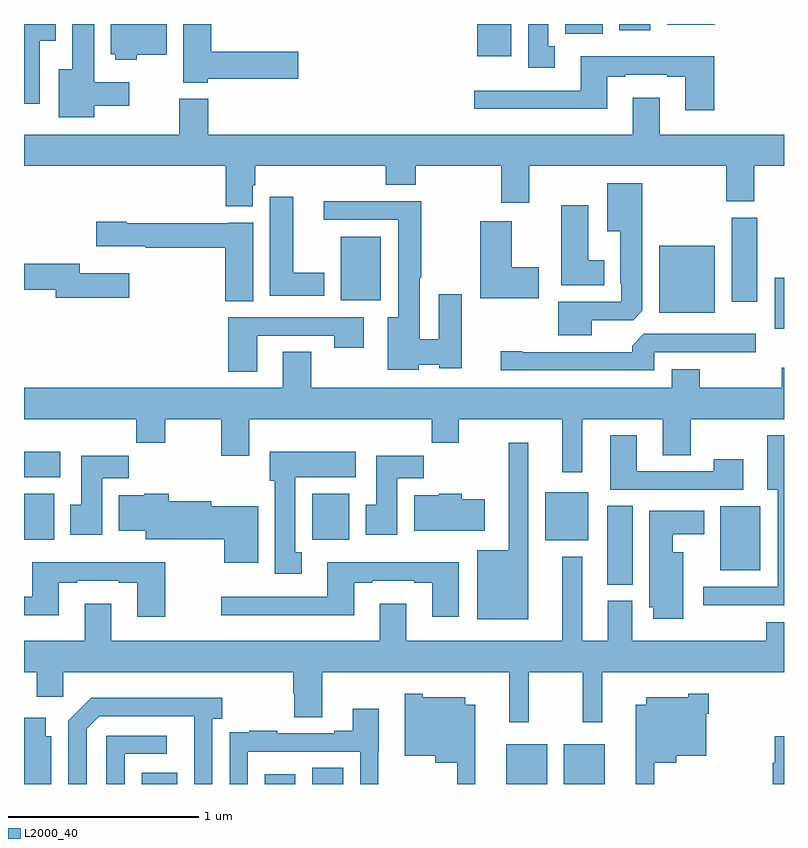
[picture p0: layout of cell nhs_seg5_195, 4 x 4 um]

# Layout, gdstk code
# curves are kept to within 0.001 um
import gdstk
lib = gdstk.Library(unit=1e-6, precision=1e-09)
def R(c, l, rs):  # rectangles x0, y0, x1, y1
    for r in rs: c.add(gdstk.rectangle(r[:2], r[2:], *l))
def P(c, l, *ps):  # polygons
    for p in ps: c.add(gdstk.Polygon(p, *l))
L2000_40 = (2000, 40)

nhs_seg5_195 = lib.new_cell('nhs_seg5_195')
R(nhs_seg5_195, L2000_40, [(121.619,894.799,121.807,894.859), (122.267,894.799,122.428,894.85), (122.516,894.799,122.68,894.884), (123.539,894.799,123.754,895.009), (123.842,894.799,124.057,895.009), (124.07,895.849,124.204,896.264), (124.664,895.925,124.876,896.26), (123.743,896.081,123.97,896.335), (121,896.084,121.159,896.326), (122.516,896.084,122.713,896.326), (121,896.414,121.192,896.548), (124.952,897.194,125,897.463), (124.343,897.278,124.636,897.631), (124.724,897.336,124.858,897.78), (122.666,897.344,122.878,897.679), (123.386,898.628,123.565,898.799), (123.848,898.748,124.045,898.799), (124.133,898.766,124.297,898.799), (124.385,898.796,124.636,898.799)])
P(nhs_seg5_195, L2000_40, [(121.593,898.637),(121.75,898.637),(121.75,898.799),(121.457,898.799),(121.457,898.641),(121.479,898.641),(121.479,898.61),(121.593,898.61)],
  [(121.084,898.712),(121.168,898.712),(121.168,898.799),(121,898.799),(121,898.38),(121.084,898.38)],
  [(121.968,898.51),(122.443,898.51),(122.443,898.652),(121.985,898.652),(121.985,898.799),(121.838,898.799),(121.838,898.49),(121.968,898.49)],
  [(121.369,898.37),(121.555,898.37),(121.555,898.492),(121.369,898.492),(121.369,898.799),(121.253,898.799),(121.253,898.561),(121.184,898.561),(121.184,898.307),(121.369,898.307)],
  [(123.793,898.682),(123.76,898.682),(123.76,898.799),(123.653,898.799),(123.653,898.569),(123.793,898.569)],
  [(124.634,898.63),(123.929,898.63),(123.929,898.449),(123.369,898.449),(123.369,898.352),(124.069,898.352),(124.069,898.521),(124.165,898.521),(124.165,898.533),(124.385,898.533),(124.385,898.521),(124.481,898.521),(124.481,898.344),(124.634,898.344)],
  [(122.203,897.951),(122.216,897.951),(122.216,898.052),(122.903,898.052),(122.903,897.953),(123.063,897.953),(123.063,898.052),(123.511,898.052),(123.511,897.858),(123.658,897.858),(123.658,898.052),(124.696,898.052),(124.696,897.865),(124.843,897.865),(124.843,898.052),(125,898.052),(125,898.216),(124.345,898.216),(124.345,898.411),(124.205,898.411),(124.205,898.216),(121.97,898.216),(121.97,898.405),(121.817,898.405),(121.817,898.216),(121,898.216),(121,898.052),(122.063,898.052),(122.063,897.839),(122.203,897.839)],
  [(123.988,897.24),(124.206,897.24),(124.255,897.289),(124.255,897.961),(124.07,897.961),(124.07,897.707),(124.139,897.707),(124.139,897.433),(124.143,897.433),(124.143,897.336),(123.812,897.336),(123.812,897.161),(123.988,897.161)],
  [(122.581,897.49),(122.416,897.49),(122.416,897.889),(122.294,897.889),(122.294,897.368),(122.581,897.368)],
  [(123.078,897.005),(123.186,897.005),(123.186,896.987),(123.304,896.987),(123.304,897.376),(123.182,897.376),(123.182,897.14),(123.082,897.14),(123.082,897.463),(123.09,897.463),(123.09,897.866),(122.577,897.866),(122.577,897.768),(122.969,897.768),(122.969,897.256),(122.915,897.256),(122.915,896.978),(123.078,896.978)],
  [(124.054,897.556),(123.97,897.556),(123.97,897.844),(123.827,897.844),(123.827,897.425),(124.054,897.425)],
  [(123.709,897.519),(123.568,897.519),(123.568,897.76),(123.401,897.76),(123.401,897.356),(123.709,897.356)],
  [(122.206,897.754),(122.076,897.754),(122.076,897.751),(121.542,897.751),(121.542,897.759),(121.38,897.759),(121.38,897.629),(121.642,897.629),(121.642,897.622),(122.06,897.622),(122.06,897.34),(122.206,897.34)],
  [(121.555,897.487),(121.294,897.487),(121.294,897.536),(121,897.536),(121,897.4),(121.166,897.4),(121.166,897.358),(121.555,897.358)],
  [(122.227,897.159),(122.632,897.159),(122.632,897.096),(122.788,897.096),(122.788,897.255),(122.075,897.255),(122.075,896.97),(122.227,896.97)],
  [(124.317,897.072),(124.852,897.072),(124.852,897.168),(124.263,897.168),(124.202,897.106),(124.202,897.072),(123.622,897.072),(123.622,897.077),(123.51,897.077),(123.51,896.976),(124.317,896.976)],
  [(123.937,896.72),(124.361,896.72),(124.361,896.53),(124.509,896.53),(124.509,896.72),(125,896.72),(125,896.991),(124.989,896.991),(124.989,896.884),(124.557,896.884),(124.557,896.983),(124.409,896.983),(124.409,896.884),(122.511,896.884),(122.511,897.074),(122.363,897.074),(122.363,896.884),(121,896.884),(121,896.72),(121.591,896.72),(121.591,896.596),(121.743,896.596),(121.743,896.72),(122.038,896.72),(122.038,896.526),(122.185,896.526),(122.185,896.72),(123.145,896.72),(123.145,896.596),(123.289,896.596),(123.289,896.72),(123.833,896.72),(123.833,896.439),(123.937,896.439)],
  [(125,896.635),(124.913,896.635),(124.913,896.348),(124.967,896.348),(124.967,895.836),(124.575,895.836),(124.575,895.739),(125,895.739)],
  [(124.786,896.509),(124.63,896.509),(124.63,896.445),(124.225,896.445),(124.225,896.635),(124.085,896.635),(124.085,896.349),(124.786,896.349)],
  [(123.655,896.596),(123.551,896.596),(123.551,896.029),(123.386,896.029),(123.386,895.667),(123.655,895.667)],
  [(122.461,896.018),(122.428,896.018),(122.428,896.414),(122.746,896.414),(122.746,896.548),(122.294,896.548),(122.294,896.394),(122.321,896.394),(122.321,895.905),(122.461,895.905)],
  [(122.965,896.408),(123.104,896.408),(123.104,896.527),(122.855,896.527),(122.855,896.268),(122.798,896.268),(122.798,896.112),(122.965,896.112)],
  [(121.411,896.408),(121.55,896.408),(121.55,896.527),(121.301,896.527),(121.301,896.268),(121.244,896.268),(121.244,896.112),(121.411,896.112)],
  [(123.424,896.298),(123.304,896.298),(123.304,896.326),(123.186,896.326),(123.186,896.32),(123.053,896.32),(123.053,896.132),(123.424,896.132)],
  [(122.233,896.26),(121.986,896.26),(121.986,896.287),(121.763,896.287),(121.763,896.326),(121.632,896.326),(121.632,896.32),(121.499,896.32),(121.499,896.132),(121.64,896.132),(121.64,896.087),(122.054,896.087),(122.054,895.964),(122.233,895.964)],
  [(124.471,896.02),(124.414,896.02),(124.414,896.114),(124.579,896.114),(124.579,896.236),(124.292,896.236),(124.292,895.728),(124.313,895.728),(124.313,895.668),(124.471,895.668)],
  [(123.656,895.388),(123.94,895.388),(123.94,895.125),(124.044,895.125),(124.044,895.388),(125,895.388),(125,895.651),(124.906,895.651),(124.906,895.552),(124.201,895.552),(124.201,895.764),(124.073,895.764),(124.073,895.552),(123.937,895.552),(123.937,895.996),(123.833,895.996),(123.833,895.552),(123.013,895.552),(123.013,895.747),(122.873,895.747),(122.873,895.552),(121.459,895.552),(121.459,895.747),(121.319,895.747),(121.319,895.552),(121,895.552),(121,895.388),(121.067,895.388),(121.067,895.257),(121.206,895.257),(121.206,895.388),(122.417,895.388),(122.417,895.275),(122.422,895.275),(122.422,895.15),(122.569,895.15),(122.569,895.388),(123.553,895.388),(123.553,895.125),(123.656,895.125)],
  [(123.289,895.966),(122.597,895.966),(122.597,895.785),(122.037,895.785),(122.037,895.688),(122.737,895.688),(122.737,895.857),(122.833,895.857),(122.833,895.869),(123.053,895.869),(123.053,895.857),(123.149,895.857),(123.149,895.68),(123.289,895.68)],
  [(121.743,895.966),(121.043,895.966),(121.043,895.785),(121,895.785),(121,895.688),(121.183,895.688),(121.183,895.857),(121.279,895.857),(121.279,895.869),(121.499,895.869),(121.499,895.857),(121.595,895.857),(121.595,895.68),(121.743,895.68)],
  [(123.376,895.216),(123.322,895.216),(123.322,895.255),(123.099,895.255),(123.099,895.273),(123.005,895.273),(123.005,894.947),(123.164,894.947),(123.164,894.911),(123.279,894.911),(123.279,894.799),(123.376,894.799)],
  [(124.317,894.911),(124.432,894.911),(124.432,894.947),(124.591,894.947),(124.591,895.169),(124.605,895.169),(124.605,895.273),(124.497,895.273),(124.497,895.255),(124.274,895.255),(124.274,895.216),(124.22,895.216),(124.22,894.799),(124.317,894.799)],
  [(121.329,895.089),(121.395,895.155),(121.895,895.155),(121.896,894.799),(121.992,894.799),(121.992,895.142),(122.044,895.142),(122.044,895.252),(121.354,895.252),(121.233,895.131),(121.233,894.799),(121.329,894.799)],
  [(122.178,894.969),(122.769,894.969),(122.769,894.799),(122.865,894.799),(122.865,894.972),(122.866,894.972),(122.866,895.195),(122.729,895.195),(122.729,895.078),(122.633,895.078),(122.633,895.065),(122.333,895.065),(122.333,895.078),(122.185,895.078),(122.185,895.071),(122.083,895.071),(122.083,894.962),(122.082,894.962),(122.082,894.799),(122.178,894.799)],
  [(121.144,895.051),(121.114,895.051),(121.114,895.147),(121,895.147),(121,894.799),(121.144,894.799)],
  [(121.53,894.957),(121.75,894.957),(121.75,895.053),(121.434,895.053),(121.434,894.799),(121.53,894.799)],
  [(125,895.051),(124.952,895.051),(124.952,894.912),(124.94,894.912),(124.94,894.799),(125,894.799)])

lib.write_gds('nhs_seg5_195.gds')
